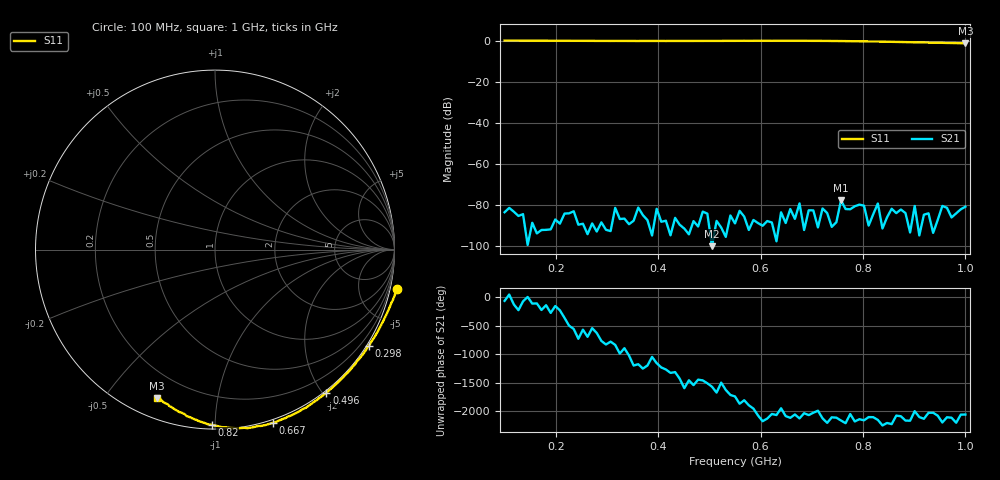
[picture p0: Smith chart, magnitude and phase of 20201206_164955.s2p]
# HZ S RI R 50
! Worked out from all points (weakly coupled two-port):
!   101 points, 100 MHz to 1 GHz, reference 50 ohm
!   highest |S21| = -77.70 dB at 757 MHz (marker M1); lowest = -100.0 dB at 505 MHz (marker M2)
!   lowest |S11| = -1.0 dB at 1 GHz (marker M3), VSWR 16.75, Z = 4.37 - j33.9 ohm
!   |S11| at or under -10 dB: nowhere
!   S12 and S22 are empty: the file has one direction only
!   S11 on the Smith chart (normalised r, x): 100 MHz: -1.52, -9.09; 298 MHz: -0.07, -3.48; 496 MHz: -0.03, -2.04; 667 MHz: -0.03, -1.39; 820 MHz: 0.02, -0.98; 1 GHz: 0.09, -0.68
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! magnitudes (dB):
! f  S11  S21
! 100 MHz  0.3  -83.5
! 253 MHz  0.1  -89.1
! 298 MHz  0.1  -92.1
! 406 MHz  0.1  -88.1
! 496 MHz  0.1  -84.2
! 505 MHz  0.1  -100.0
! 550 MHz  0.1  -88.9
! 667 MHz  0.2  -86.7
! 676 MHz  0.1  -79.2
! 685 MHz  0.2  -92.1
! 703 MHz  0.1  -82.6
! 748 MHz  0.0  -88.4
! 757 MHz  0.0  -77.7
! 766 MHz  0.0  -81.9
! 784 MHz  -0.1  -80.6
! 793 MHz  -0.1  -79.8
! 802 MHz  -0.1  -80.3
! 820 MHz  -0.2  -84.5
! 829 MHz  -0.2  -79.2
! 838 MHz  -0.3  -91.4
! 856 MHz  -0.4  -81.8
! 1 GHz  -1.0  -80.8
